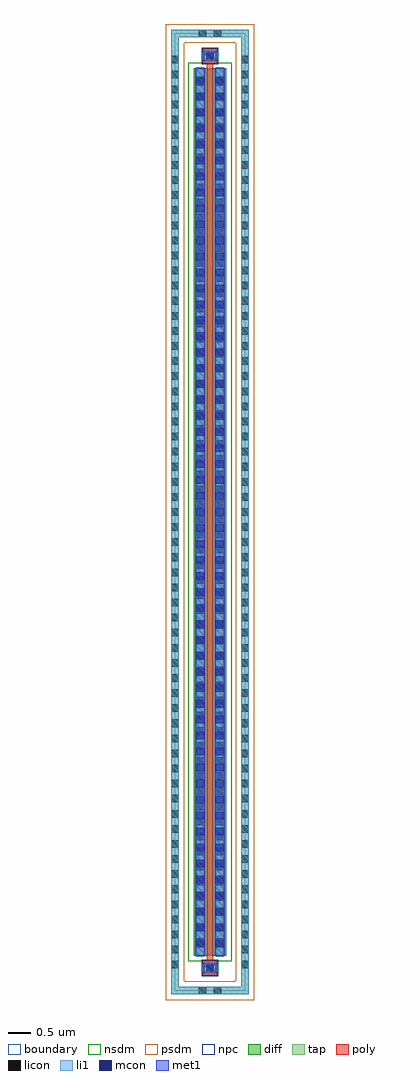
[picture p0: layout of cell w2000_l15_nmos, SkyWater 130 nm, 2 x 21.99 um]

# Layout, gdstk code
import gdstk
lib = gdstk.Library(unit=1e-6, precision=1e-09)
def R(c, l, rs):  # rectangles x0, y0, x1, y1
    for r in rs: c.add(gdstk.rectangle(r[:2], r[2:], *l))
def A(c, l, x, y, w, h, nx, ny, dx, dy):  # array of equal rectangles
    R(c, l, [(x+i*dx, y+j*dy, x+i*dx+w, y+j*dy+h) for i in range(nx) for j in range(ny)])
diff = (65, 20)
tap = (65, 44)
poly = (66, 20)
licon = (66, 44)
li1 = (67, 20)
mcon = (67, 44)
met1 = (68, 20)
nsdm = (93, 44)
psdm = (94, 20)
npc = (95, 20)
boundary = (235, 4)

sky130_fd_pr__nfet_01v8 = lib.new_cell('sky130_fd_pr__nfet_01v8')

w2000_l15_nmos = lib.new_cell('w2000_l15_nmos')
R(w2000_l15_nmos, diff, [(-0.365,-10,0.365,10)])
R(w2000_l15_nmos, tap, [(-0.875,-10.87,0.875,-10.7), (-0.875,-10.7,-0.705,10.7), (0.705,-10.7,0.875,10.7), (-0.875,10.7,0.875,10.87)])
R(w2000_l15_nmos, poly, [(-0.165,-10.44,0.165,-10.11), (-0.075,-10.11,0.075,10.11), (-0.165,10.11,0.165,10.44)])
A(w2000_l15_nmos, licon, -0.875, -10.285, 0.17, 0.17, 1, 61, 0, 0.34)
A(w2000_l15_nmos, licon, 0.705, -10.285, 0.17, 0.17, 1, 61, 0, 0.34)
A(w2000_l15_nmos, licon, -0.305, -9.775, 0.17, 0.17, 1, 58, 0, 0.34)
A(w2000_l15_nmos, licon, 0.135, -9.775, 0.17, 0.17, 1, 58, 0, 0.34)
R(w2000_l15_nmos, licon, [(-0.255,-10.87,-0.085,-10.7), (0.085,-10.87,0.255,-10.7), (-0.085,-10.36,0.085,-10.19), (-0.085,10.19,0.085,10.36), (-0.255,10.7,-0.085,10.87), (0.085,10.7,0.255,10.87)])
R(w2000_l15_nmos, li1, [(-0.875,-10.87,0.875,-10.7), (-0.875,-10.7,-0.705,10.7), (0.705,-10.7,0.875,10.7), (-0.165,-10.36,0.165,-10.19), (-0.305,-10.02,-0.135,10.02), (0.135,-10.02,0.305,10.02), (-0.165,10.19,0.165,10.36), (-0.875,10.7,0.875,10.87)])
A(w2000_l15_nmos, mcon, -0.305, -9.805, 0.17, 0.17, 1, 55, 0, 0.36)
A(w2000_l15_nmos, mcon, 0.135, -9.805, 0.17, 0.17, 1, 55, 0, 0.36)
R(w2000_l15_nmos, mcon, [(-0.085,-10.36,0.085,-10.19), (-0.085,10.19,0.085,10.36)])
R(w2000_l15_nmos, met1, [(-0.145,-10.39,0.145,-10.16), (-0.335,-10,-0.105,10), (0.105,-10,0.335,10), (-0.145,10.16,0.145,10.39)])
R(w2000_l15_nmos, nsdm, [(-0.49,-10.125,0.49,10.125)])
R(w2000_l15_nmos, psdm, [(-1,-10.995,1,-10.575), (-1,-10.575,-0.58,10.575), (0.58,-10.575,1,10.575), (-1,10.575,1,10.995)])
R(w2000_l15_nmos, npc, [(-0.185,-10.46,0.185,-10.09), (-0.185,10.09,0.185,10.46)])
R(w2000_l15_nmos, boundary, [(-0.79,-10.785,0.79,10.785)])
w2000_l15_nmos.add(gdstk.Reference(sky130_fd_pr__nfet_01v8, (0,0)))

lib.write_gds('w2000_l15_nmos.gds')
